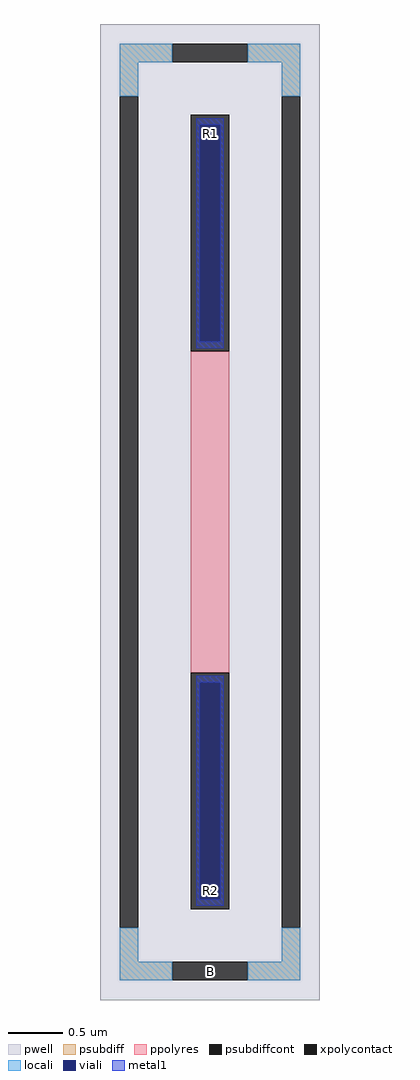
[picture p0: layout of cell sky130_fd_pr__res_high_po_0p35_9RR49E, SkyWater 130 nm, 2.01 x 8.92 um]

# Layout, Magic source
magic
tech sky130A
magscale 1 2
<< pwell >>
rect -201 -892 201 892
<< psubdiff >>
rect -165 822 -69 856
rect 69 822 165 856
rect -165 760 -131 822
rect 131 760 165 822
rect -165 -822 -131 -760
rect 131 -822 165 -760
rect -165 -856 -69 -822
rect 69 -856 165 -822
<< psubdiffcont >>
rect -69 822 69 856
rect -165 -760 -131 760
rect 131 -760 165 760
rect -69 -856 69 -822
<< xpolycontact >>
rect -35 294 35 726
rect -35 -726 35 -294
<< ppolyres >>
rect -35 -294 35 294
<< locali >>
rect -165 822 -69 856
rect 69 822 165 856
rect -165 760 -131 822
rect 131 760 165 822
rect -165 -822 -131 -760
rect 131 -822 165 -760
rect -165 -856 -69 -822
rect 69 -856 165 -822
<< viali >>
rect -19 311 19 708
rect -19 -708 19 -311
<< metal1 >>
rect -25 708 25 720
rect -25 311 -19 708
rect 19 311 25 708
rect -25 299 25 311
rect -25 -311 25 -299
rect -25 -708 -19 -311
rect 19 -708 25 -311
rect -25 -720 25 -708
<< labels >>
rlabel psubdiffcont 0 -839 0 -839 0 B
port 1 nsew
rlabel xpolycontact 0 691 0 691 0 R1
port 2 nsew
rlabel xpolycontact 0 -691 0 -691 0 R2
port 3 nsew
<< properties >>
string FIXED_BBOX -148 -839 148 839
string gencell sky130_fd_pr__res_high_po_0p35
string library sky130
string MASKHINTS_RPM -128 -766 126 780
string parameters w 0.350 l 3.1 m 1 nx 1 wmin 0.350 lmin 0.50 class resistor rho 319.8 val 3.945k dummy 0 dw 0.0 term 194.82 sterm 0.0 caplen 0 guard 1 glc 1 grc 1 gtc 1 gbc 1 compatible {sky130_fd_pr__res_high_po_0p35  sky130_fd_pr__res_high_po_0p69 sky130_fd_pr__res_high_po_1p41  sky130_fd_pr__res_high_po_2p85 sky130_fd_pr__res_high_po_5p73} snake 0 full_metal 1 wmax 0.350 vias 1 n_guard 0 hv_guard 0 viagb 0 viagt 0 viagl 0 viagr 0 doports 1 mult 1
<< end >>
